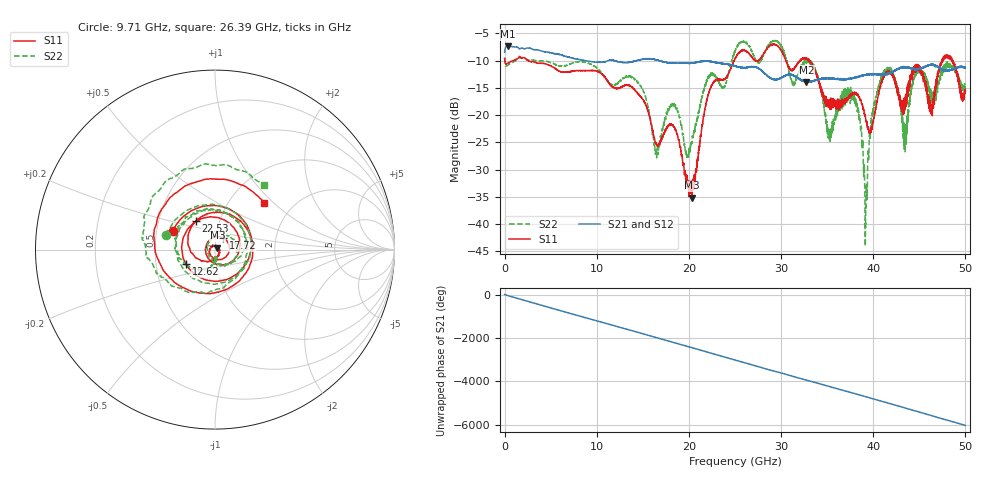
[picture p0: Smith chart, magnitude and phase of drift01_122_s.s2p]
!Created with skrf (http://scikit-rf.org).
# Hz S RI R 50.0
!freq ReS11 ImS11 ReS21 ImS21 ReS12 ImS12 ReS22 ImS22
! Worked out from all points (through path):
!   10001 points, 300 kHz to 50 GHz, reference 50 ohm
!   highest |S21| = -7.33 dB at 320.3 MHz (marker M1); lowest = -14.0 dB at 32.76 GHz (marker M2)
!   group delay of S21, straight-line fit = 335 ps
!   lowest |S11| = -35.1 dB at 20.33 GHz (marker M3), VSWR 1.04, Z = 51.4 + j1.15 ohm
!   |S11| at or under -10 dB: 2.553 GHz to 24.9 GHz (22.35 GHz wide, 163 % of centre); 30.53 GHz to 32.02 GHz (1.486 GHz wide, 4.75 % of centre); 33.07 GHz to 47.44 GHz (14.37 GHz wide, 35.7 % of centre) (the widest 3 of 24)
!   |S22| runs from -44.1 to -6.3 dB; largest |S21 - S12| = 0.011
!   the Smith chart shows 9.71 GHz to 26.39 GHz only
!   S11 on the Smith chart (normalised r, x): 9.71 GHz: 0.61, +0.13; 12.62 GHz: 0.72, -0.12; 17.72 GHz: 1.09, +0.14; 22.53 GHz: 0.77, +0.26; 26.39 GHz: 1.44, +0.88
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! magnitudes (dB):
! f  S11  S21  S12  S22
! 300 kHz  -9.6  -8.4  -8.5  -9.4
! 320.3 MHz  -10.5  -7.3  -7.3  -10.9
! 8.335 GHz  -11.8  -9.8  -9.9  -10.2
! 9.71 GHz  -11.8  -10.3  -10.2  -10.9
! 12.62 GHz  -14.9  -10.3  -10.3  -13.6
! 16.67 GHz  -25.6  -9.9  -9.9  -27.1
! 17.72 GHz  -22.1  -10.4  -10.4  -18.9
! 20.33 GHz  -35.1  -10.4  -10.4  -24.9
! 22.53 GHz  -14.4  -10.2  -10.2  -12.3
! 25 GHz  -9.6  -11.0  -11.0  -8.3
! 26.39 GHz  -8.4  -11.2  -11.2  -6.9
! 32.76 GHz  -9.7  -14.0  -13.8  -10.3
! 33.34 GHz  -10.6  -13.8  -13.7  -10.6
! 35.25 GHz  -17.9  -13.2  -13.2  -23.7
! 37.99 GHz  -15.9  -13.1  -13.1  -17.7
! 39.17 GHz  -20.5  -12.6  -12.6  -40.6
! 40.14 GHz  -19.9  -12.5  -12.5  -17.8
! 41.67 GHz  -12.0  -12.3  -12.4  -12.2
! 43.43 GHz  -17.6  -11.2  -11.3  -24.6
! 44.88 GHz  -11.0  -11.6  -11.6  -12.2
! 46.28 GHz  -19.0  -10.7  -10.6  -17.0
! 50 GHz  -15.6  -11.3  -11.3  -15.0
